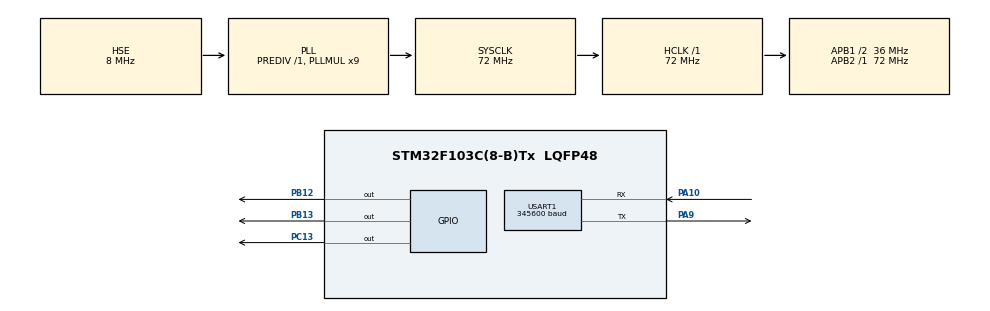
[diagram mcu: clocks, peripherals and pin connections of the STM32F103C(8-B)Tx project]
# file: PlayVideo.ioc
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Mcu.Family=STM32F1
Mcu.Name=STM32F103C(8-B)Tx
Mcu.Package=LQFP48
NVIC.PriorityGroup=NVIC_PRIORITYGROUP_4
NVIC.USART1_IRQn=true\:0\:0\:false\:false\:true\:true\:true\:true
PA10.Mode=Asynchronous
PA10.Signal=USART1_RX
PA13.Mode=Serial_Wire
PA13.Signal=SYS_JTMS-SWDIO
PA14.Mode=Serial_Wire
PA14.Signal=SYS_JTCK-SWCLK
PA9.Mode=Asynchronous
PA9.Signal=USART1_TX
PB12.GPIO_PuPd=GPIO_PULLUP
PB12.GPIO_Speed=GPIO_SPEED_FREQ_HIGH
PB12.Signal=GPIO_Output
PB13.GPIO_PuPd=GPIO_PULLUP
PB13.GPIO_Speed=GPIO_SPEED_FREQ_HIGH
PB13.Signal=GPIO_Output
PC13-TAMPER-RTC.GPIO_PuPd=GPIO_NOPULL
PC13-TAMPER-RTC.Signal=GPIO_Output
PD0-OSC_IN.Mode=HSE-External-Oscillator
PD0-OSC_IN.Signal=RCC_OSC_IN
PD1-OSC_OUT.Mode=HSE-External-Oscillator
PD1-OSC_OUT.Signal=RCC_OSC_OUT
ProjectManager.HeapSize=0x200
ProjectManager.StackSize=0x400
ProjectManager.TargetToolchain=STM32CubeIDE
RCC.AHBFreq_Value=72000000
RCC.APB1CLKDivider=RCC_HCLK_DIV2
RCC.APB1Freq_Value=36000000
RCC.APB1TimFreq_Value=72000000
RCC.APB2Freq_Value=72000000
RCC.APB2TimFreq_Value=72000000
RCC.HCLKFreq_Value=72000000
RCC.PLLMUL=RCC_PLL_MUL9
RCC.PLLSourceVirtual=RCC_PLLSOURCE_HSE
RCC.SYSCLKFreq_VALUE=72000000
RCC.SYSCLKSource=RCC_SYSCLKSOURCE_PLLCLK
RCC.USBFreq_Value=72000000
USART1.BaudRate=345600
USART1.VirtualMode=VM_ASYNC
board=custom

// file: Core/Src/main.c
/* USER CODE BEGIN Header */
/**
  ******************************************************************************
  * @file           : main.c
  * @brief          : Main program body
  ******************************************************************************
  * @attention
  *
  * Copyright (c) 2022 STMicroelectronics.
  * All rights reserved.
  *
  * This software is licensed under terms that can be found in the LICENSE file
  * in the root directory of this software component.
  * If no LICENSE file comes with this software, it is provided AS-IS.
  *
  ******************************************************************************
  */
/* USER CODE END Header */
#include "main.h"

/* USER CODE BEGIN Includes */
#include "oled12864.h"
/* USER CODE END Includes */

 UART_HandleTypeDef huart1;

/* USER CODE BEGIN PV */
#define LENGTH 1024     //接受缓冲区大�?
uint8_t aRxBuffer;			//接收中断缓冲
uint8_t Uart1_RxBuff[LENGTH];		//接收缓冲
uint8_t Uart1_Rx_Cnt = 0;		//接收缓冲计数
char flag = 0;

unsigned char pic[]={
0x00,0x00,0x00,0x00,0x00,0x00,0x00,0x00,0x00,0x00,0x00,0x00,0x00,0x00,0x00,0x00,
0x00,0x00,0x00,0x00,0x00,0x00,0x00,0x00,0x00,0x00,0x00,0x00,0x00,0x00,0x00,0x00,
0x00,0x00,0x00,0x00,0x00,0x00,0x00,0x00,0x00,0x00,0x00,0x00,0x00,0x00,0x00,0x00,
0x00,0x00,0x00,0xC0,0xE0,0xF0,0xF8,0xFC,0xFC,0xFE,0xFE,0xFE,0xFE,0xFE,0xFE,0xFE,
0xFE,0xFE,0xFE,0xFE,0xFC,0xFC,0xFC,0xFC,0xFC,0xFC,0xFC,0xFC,0xF8,0xF8,0xF0,0xF4,
0xE0,0xC0,0x80,0x20,0x00,0x00,0x00,0x00,0x00,0x00,0x00,0x00,0x00,0x00,0x00,0x00,
0x00,0x00,0x00,0x00,0x00,0x00,0x00,0x00,0x00,0x00,0x00,0x00,0x00,0x00,0x00,0x00,
0x00,0x00,0x00,0x00,0x00,0x00,0x00,0x00,0x00,0x00,0x00,0x00,0x00,0x00,0x00,0x00,
0x00,0x00,0x00,0x00,0x00,0x00,0x00,0x00,0x00,0x00,0x00,0x00,0x00,0x00,0x00,0x00,
0x00,0x00,0x00,0x00,0x00,0x00,0x00,0x00,0x00,0x00,0x00,0x00,0x00,0x00,0x00,0x00,
0x00,0x00,0x00,0x00,0x00,0x00,0x00,0x00,0x00,0x00,0x00,0x00,0x60,0xF0,0xF8,0xF0,
0xF0,0xF8,0xFF,0xFF,0xFF,0xFF,0xFF,0xFF,0xFF,0xFF,0xFF,0xFF,0xFF,0xFF,0xFF,0xFF,
0xFF,0xFF,0xFF,0xFF,0xFF,0xFF,0xFF,0xFF,0xFF,0xFF,0xFF,0xFF,0xFF,0xFF,0xFF,0xFF,
0xFF,0xFF,0xFF,0xFE,0xFE,0xFE,0xFE,0xFE,0xFE,0xFE,0xFE,0xFC,0xE0,0x10,0x00,0x00,
0x00,0x00,0x00,0x00,0x00,0x00,0x00,0x00,0x00,0x00,0x00,0x00,0x00,0x00,0x00,0x00,
0x00,0x00,0x00,0x00,0x00,0x00,0x00,0x00,0x00,0x00,0x00,0x00,0x00,0x00,0x00,0x00,
0x00,0x00,0x00,0x00,0x00,0x00,0x00,0x00,0x40,0x00,0x80,0x80,0xC0,0xC0,0xC0,0xE0,
0xE0,0xC0,0xC0,0xC0,0x80,0x80,0x00,0x00,0x00,0x00,0x00,0x00,0x00,0x00,0x00,0x00,
0x00,0x00,0x00,0x00,0x00,0x00,0x00,0x00,0x00,0x00,0x00,0x00,0x00,0x00,0x08,0x0D,
0x4F,0x3D,0x3F,0x7F,0xFF,0xFF,0xFF,0xFF,0xFF,0xFF,0xFF,0xFF,0xFF,0xFF,0xFF,0xFF,
0xFF,0xFF,0xFF,0xFF,0xFF,0xFF,0xFF,0xFF,0xFF,0xFF,0xFF,0xFF,0xFF,0xFF,0xFF,0x7F,
0xDF,0xCF,0xFB,0xFF,0xFF,0xFF,0xFF,0xFF,0xFF,0xFF,0xFF,0xCF,0x07,0x08,0x00,0x00,
0x00,0x00,0x00,0x00,0x00,0x80,0x80,0xC0,0xC0,0xC0,0xE0,0xE0,0xF0,0xF0,0xF0,0x70,
0x70,0x70,0xF0,0xE0,0xE0,0xC0,0xC0,0xC0,0xC0,0x80,0x80,0x80,0x00,0x00,0x00,0x00,
0xFC,0xFC,0xFC,0x1E,0xDE,0xFE,0xFF,0xFF,0xFF,0xFF,0xFF,0x7F,0x3B,0x01,0x01,0xF1,
0xF9,0xFF,0xFF,0xFF,0xFF,0xFF,0x7F,0x87,0xF7,0x6E,0x8E,0xCC,0xFC,0xFC,0xF8,0xF8,
0xB8,0x30,0xB0,0xB0,0xB0,0x30,0x30,0xB0,0xF0,0xF0,0xF0,0xF0,0x74,0xF0,0xF0,0xE4,
0xC0,0x80,0xC0,0xC0,0xC0,0xE1,0xE3,0xE3,0xF5,0xF7,0xFF,0xFF,0xFF,0xFF,0xFF,0xFF,
0xFF,0xFF,0xFF,0xFF,0xFF,0xF7,0xF3,0xFF,0xEF,0xC7,0xC3,0xC3,0x83,0xC4,0xE3,0xF0,
0xF8,0x7B,0xBF,0xFF,0xFF,0xFF,0xFF,0xFF,0xFF,0x7F,0xFF,0x7F,0xDE,0x1C,0xDC,0xFC,
0xFC,0xFE,0xFF,0xF7,0xE7,0xC3,0x03,0x03,0x1D,0x3F,0x7F,0xFF,0xFF,0xFE,0xFE,0xFC,
0xF0,0x00,0x00,0x1F,0x3F,0x3F,0x7F,0xFF,0xFF,0xFF,0xFF,0xF7,0x07,0x3F,0x7F,0xFF,
0x03,0x01,0x00,0x3E,0x1F,0x0F,0x07,0x03,0x03,0x05,0x00,0x00,0x00,0x00,0x78,0x7F,
0x3F,0x4F,0x07,0x03,0x01,0x00,0x03,0x03,0x00,0xFF,0xFF,0xFF,0xFF,0x7F,0x3F,0x0F,
0x03,0x00,0x07,0x07,0x01,0xFE,0xFF,0xFF,0xFF,0xFF,0x7F,0xBF,0xFF,0xFC,0xFC,0xFF,
0xFF,0xFF,0xFF,0xFF,0xFF,0xFF,0xFF,0xFF,0xFF,0xFF,0xFF,0xFF,0xFF,0xFF,0xFF,0xFF,
0xFF,0xFF,0xFF,0xFF,0xFF,0xFF,0xFF,0xFF,0xFF,0xFF,0xFF,0xFF,0xFF,0xFF,0xFF,0xFE,
0xFE,0xFC,0xFF,0x9F,0xBF,0x7F,0xFF,0xFF,0xFF,0xFF,0x00,0x00,0x01,0x00,0x01,0x03,
0x0F,0x1F,0x3F,0xFF,0xFF,0xFF,0x00,0x00,0x00,0x00,0x03,0x00,0x39,0x3B,0x27,0x0F,
0x1F,0x30,0x00,0x00,0x00,0x00,0x00,0x00,0x01,0x03,0x03,0x07,0x0F,0x0C,0x03,0x06,
0x00,0x00,0x00,0x00,0x00,0x00,0x00,0x00,0x00,0x00,0x00,0x00,0x00,0x00,0x00,0x00,
0x00,0x00,0x00,0x00,0x00,0x00,0x00,0x00,0x06,0x01,0x07,0x03,0x00,0x03,0x00,0x00,
0x00,0x00,0x00,0x00,0x3C,0x33,0x0F,0x0F,0x23,0xCC,0xF1,0xFD,0xFF,0xFF,0xFF,0xFF,
0xFF,0xFF,0xFF,0xFF,0xFF,0xFF,0xFF,0xFF,0xFF,0xFF,0xFF,0xFF,0xFF,0xFF,0xFF,0xFF,
0xFF,0xFF,0xFF,0xFF,0xFF,0xFF,0xFF,0xFF,0xFF,0xFF,0xFF,0xFF,0xFF,0xFF,0xFF,0xFF,
0xFF,0xFF,0xFF,0xF9,0xE0,0x90,0x01,0x03,0x0F,0x07,0x00,0x00,0x00,0x00,0x00,0x00,
0x00,0x00,0x00,0x00,0x01,0x03,0x02,0x00,0x00,0x00,0x00,0x00,0x00,0x00,0x00,0x00,
0x00,0x00,0x00,0x00,0x00,0x00,0x00,0x00,0x00,0x00,0x00,0x00,0x00,0x00,0x00,0x00,
0x00,0x00,0x00,0x00,0x00,0x00,0xC0,0xF0,0xF0,0xC0,0x80,0x80,0x80,0x80,0xC0,0xC0,
0xC0,0xB4,0xF0,0xF0,0xF0,0xF0,0xC0,0xC0,0xC0,0xA0,0x00,0x00,0x80,0x80,0xC0,0xC0,
0xC0,0xE0,0xE0,0xF0,0xF0,0xF0,0xF8,0xF8,0xFC,0xFF,0xFF,0xFF,0xFF,0x7F,0x3F,0x4F,
0x03,0x03,0xFF,0xFF,0xFF,0xFF,0xFF,0xFF,0xFF,0xFF,0xFF,0xFF,0xFF,0xFF,0xFF,0xFF,
0xFF,0xFF,0xFF,0xFF,0xFF,0xFF,0xFF,0xFF,0xFF,0xFF,0xFF,0xFF,0xFF,0xE1,0x07,0xDF,
0xBF,0x7F,0xFF,0xFF,0xFF,0xFF,0xFC,0xFC,0xF8,0xF8,0xF0,0xF0,0xF0,0xE0,0xE0,0xC0,
0xC0,0xC0,0x80,0x80,0x00,0x00,0x80,0xC0,0xC0,0xF0,0xF0,0xF8,0xF8,0xD8,0xC0,0xD0,
0xC0,0xC0,0xC0,0xC0,0xC0,0xC0,0xF0,0xF0,0xF0,0xC0,0x00,0x00,0x00,0x00,0x00,0x00,
0x00,0x00,0x00,0x00,0x00,0x00,0x05,0x03,0x07,0x0F,0x0F,0x0F,0x0F,0x1F,0x1F,0x1F,
0x0F,0x2F,0x0F,0x1F,0x1F,0x1F,0x3F,0x3F,0x3F,0x3F,0x3F,0x3F,0x3F,0x3F,0x1F,0x1F,
0x0F,0x0F,0x0F,0x07,0x07,0x03,0x03,0x03,0x03,0x01,0x01,0x02,0x00,0x00,0x80,0xE0,
0xF0,0xFC,0xFF,0xFF,0xFF,0xFF,0xFF,0xFF,0xFF,0xFF,0xFF,0xFF,0xFF,0xFF,0xFF,0xFF,
0xFF,0xFF,0xFF,0xFF,0xFF,0xFF,0xFF,0xFF,0xFF,0xFF,0xFF,0xFF,0xFF,0xFF,0xFC,0xF3,
0xE0,0x80,0x00,0x00,0x00,0x01,0x01,0x03,0x03,0x03,0x07,0x07,0x0F,0x0F,0x2F,0x0F,
0x1F,0x1F,0x3F,0x3F,0x3F,0x3F,0x3F,0x3F,0x3F,0x3F,0x3F,0x3F,0x3F,0x1F,0x1F,0x1F,
0x1F,0x3F,0x3F,0x3F,0x0F,0x0F,0x0F,0x0F,0x01,0x00,0x00,0x00,0x00,0x00,0x00,0x00,
};

/* USER CODE END PV */

void SystemClock_Config(void);
static void MX_GPIO_Init(void);
static void MX_USART1_UART_Init(void);

int main(void)
{

  /* MCU Configuration--------------------------------------------------------*/

  /* Reset of all peripherals, Initializes the Flash interface and the Systick. */
  HAL_Init();

  /* Configure the system clock */
  SystemClock_Config();

  /* Initialize all configured peripherals */
  MX_GPIO_Init();
  MX_USART1_UART_Init();
  /* USER CODE BEGIN 2 */

  OLED_Init();

//  HAL_UART_Transmit(&huart1,(uint8_t *)"****UART commucition using IT****\n",34,HAL_MAX_DELAY);
//  HAL_UART_Transmit(&huart1,(uint8_t *)"Please enter 4 characters: \n",30,HAL_MAX_DELAY);
//  //使能接收中断
//  HAL_UART_Receive_IT(&huart1, (uint8_t *)RxBuffer,LENGTH);

//  OLED_ShowString(0,0,"Test",4);
  HAL_Delay(1000);
  OLED_DrawBMP_Fast(pic);
  HAL_UART_Transmit(&huart1, (uint8_t *)"test", 4, 0xffff);
  /* USER CODE END 2 */

  /* Infinite loop */
  while (1)
  {

    /* USER CODE BEGIN 3 */
	if(flag==1)
	{
		OLED_DrawBMP_Fast(Uart1_RxBuff);
		flag=0;
	}
  }
  /* USER CODE END 3 */
}

void SystemClock_Config(void)
{
  RCC_OscInitTypeDef RCC_OscInitStruct = {0};
  RCC_ClkInitTypeDef RCC_ClkInitStruct = {0};

  /** Initializes the RCC Oscillators according to the specified parameters
  * in the RCC_OscInitTypeDef structure.
  */
  RCC_OscInitStruct.OscillatorType = RCC_OSCILLATORTYPE_HSE;
  RCC_OscInitStruct.HSEState = RCC_HSE_ON;
  RCC_OscInitStruct.HSEPredivValue = RCC_HSE_PREDIV_DIV1;
  RCC_OscInitStruct.HSIState = RCC_HSI_ON;
  RCC_OscInitStruct.PLL.PLLState = RCC_PLL_ON;
  RCC_OscInitStruct.PLL.PLLSource = RCC_PLLSOURCE_HSE;
  RCC_OscInitStruct.PLL.PLLMUL = RCC_PLL_MUL9;
  if (HAL_RCC_OscConfig(&RCC_OscInitStruct) != HAL_OK)
  {
    Error_Handler();
  }

  /** Initializes the CPU, AHB and APB buses clocks
  */
  RCC_ClkInitStruct.ClockType = RCC_CLOCKTYPE_HCLK|RCC_CLOCKTYPE_SYSCLK
                              |RCC_CLOCKTYPE_PCLK1|RCC_CLOCKTYPE_PCLK2;
  RCC_ClkInitStruct.SYSCLKSource = RCC_SYSCLKSOURCE_PLLCLK;
  RCC_ClkInitStruct.AHBCLKDivider = RCC_SYSCLK_DIV1;
  RCC_ClkInitStruct.APB1CLKDivider = RCC_HCLK_DIV2;
  RCC_ClkInitStruct.APB2CLKDivider = RCC_HCLK_DIV1;

  if (HAL_RCC_ClockConfig(&RCC_ClkInitStruct, FLASH_LATENCY_2) != HAL_OK)
  {
    Error_Handler();
  }
}

static void MX_USART1_UART_Init(void)
{

  huart1.Instance = USART1;
  huart1.Init.BaudRate = 460800;//345600;
  huart1.Init.WordLength = UART_WORDLENGTH_8B;
  huart1.Init.StopBits = UART_STOPBITS_1;
  huart1.Init.Parity = UART_PARITY_NONE;
  huart1.Init.Mode = UART_MODE_TX_RX;
  huart1.Init.HwFlowCtl = UART_HWCONTROL_NONE;
  huart1.Init.OverSampling = UART_OVERSAMPLING_16;
  if (HAL_UART_Init(&huart1) != HAL_OK)
  {
    Error_Handler();
  }
  /* USER CODE BEGIN USART1_Init 2 */
//  HAL_UART_Receive_IT(&huart1, (uint8_t *)&aRxBuffer, 1);
  HAL_UART_Receive_IT(&huart1, (uint8_t *)Uart1_RxBuff, 1024);
  /* USER CODE END USART1_Init 2 */

}

static void MX_GPIO_Init(void)
{
  GPIO_InitTypeDef GPIO_InitStruct = {0};

  /* GPIO Ports Clock Enable */
  __HAL_RCC_GPIOC_CLK_ENABLE();
  __HAL_RCC_GPIOD_CLK_ENABLE();
  __HAL_RCC_GPIOB_CLK_ENABLE();
  __HAL_RCC_GPIOA_CLK_ENABLE();

  /*Configure GPIO pin Output Level */
  HAL_GPIO_WritePin(GPIOC, GPIO_PIN_13, GPIO_PIN_RESET);

  /*Configure GPIO pin Output Level */
  HAL_GPIO_WritePin(GPIOB, GPIO_PIN_12|GPIO_PIN_13, GPIO_PIN_RESET);

  /*Configure GPIO pin : PC13 */
  GPIO_InitStruct.Pin = GPIO_PIN_13;
  GPIO_InitStruct.Mode = GPIO_MODE_OUTPUT_PP;
  GPIO_InitStruct.Pull = GPIO_NOPULL;
  GPIO_InitStruct.Speed = GPIO_SPEED_FREQ_LOW;
  HAL_GPIO_Init(GPIOC, &GPIO_InitStruct);

  /*Configure GPIO pins : PB12 PB13 */
  GPIO_InitStruct.Pin = GPIO_PIN_12|GPIO_PIN_13;
  GPIO_InitStruct.Mode = GPIO_MODE_OUTPUT_PP;
  GPIO_InitStruct.Pull = GPIO_PULLUP;
  GPIO_InitStruct.Speed = GPIO_SPEED_FREQ_HIGH;
  HAL_GPIO_Init(GPIOB, &GPIO_InitStruct);

}

/* USER CODE BEGIN 4 */

/**
  * @brief  Rx Transfer completed callbacks.
  * @param  huart pointer to a UART_HandleTypeDef structure that contains
  *                the configuration information for the specified UART module.
  * @retval None
  */
void HAL_UART_RxCpltCallback(UART_HandleTypeDef *huart)
{
  /* Prevent unused argument(s) compilation warning */
  UNUSED(huart);
  /* NOTE: This function Should not be modified, when the callback is needed,
           the HAL_UART_TxCpltCallback could be implemented in the user file
   */

  flag = 1;
  HAL_UART_Receive_IT(&huart1, (uint8_t *)Uart1_RxBuff, 1024);   //再开启接收中断
}

/* USER CODE END 4 */

void Error_Handler(void)
{
  __disable_irq();
  while (1)
  {
  }
}
